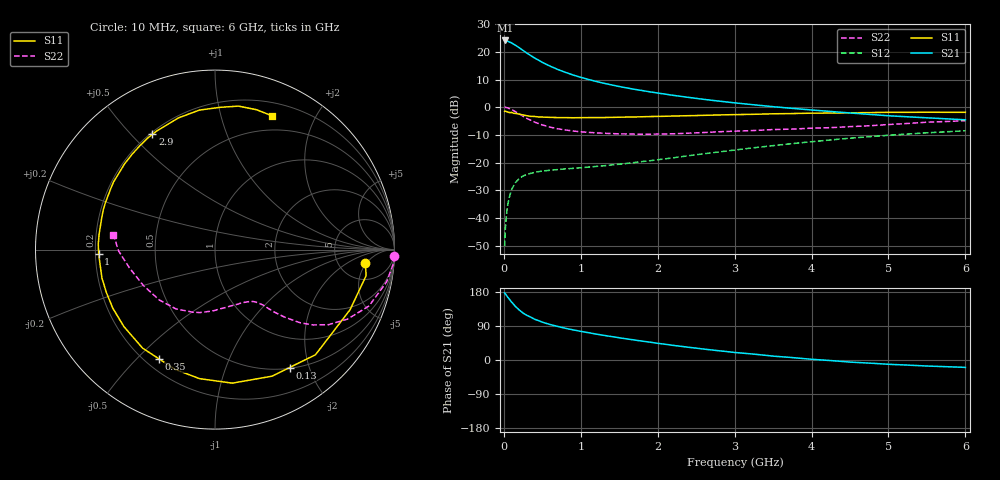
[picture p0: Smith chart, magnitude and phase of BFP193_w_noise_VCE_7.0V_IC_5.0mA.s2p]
! (c) 2017  Infineon Technologies AG, Munich
! Infineon Technologies  Discrete & RF Semiconductors
! BFP193
! VCE =  7.0 V,  IC =  5.0 mA
! Common Emitter S-Parameters:  Jan 2017
# GHz  S  MA  R  50
!  f  S11  S21  S12  S22
! GHz  MAG  ANG  MAG  ANG  MAG  ANG  MAG  ANG
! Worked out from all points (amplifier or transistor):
!   77 points, 10 MHz to 6 GHz, reference 50 ohm
!   highest |S21| = 24.1 dB at 20 MHz (marker M1)
!   |S21| within 3 dB of that: start of sweep to 218.8 MHz
!   unconditionally stable (mu >= 1): 1.409 GHz to 2.642 GHz
!   at 130 MHz: K = 0.13, MSG = 25.5 dB, |S12| = -28.2 dB
!   at 2.2 GHz: K = 1.06, MAG = 9.8 dB, |S12| = -18.3 dB
!   at 6 GHz: K = 0.85, MSG = 2.0 dB, |S12| = -8.5 dB
!   lowest NFmin = 0.92 dB at 450 MHz
!   S11 on the Smith chart (normalised r, x): 10 MHz: 9, -5; 130 MHz: 0.51, -1.70; 350 MHz: 0.25, -0.58; 1 GHz: 0.21, -0.02; 2.9 GHz: 0.21, +0.58; 6 GHz: 0.34, +1.46
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0.01  0.8412 -5.0  15.9 177.2  0.0031 89.0  1 -2.1
0.02  0.8544 -9.8  16.06 174.5  0.0064 89.9  0.9978 -4.4
0.05  0.8238 -24.0  15.58 165.9  0.0171 77.1  0.9733 -10.6
0.1  0.8103 -46.3  14.58 153.0  0.0322 68.1  0.9137 -20.1
0.13  0.7774 -57.7  13.68 146.3  0.0389 61.2  0.8637 -24.5
0.15  0.7736 -65.7  13.2 141.4  0.0436 57.8  0.8335 -27.7
0.2  0.7503 -82.6  11.86 132.0  0.0515 51.6  0.758 -33.5
0.25  0.7241 -96.8  10.6 123.8  0.0574 45.6  0.6878 -37.6
0.3  0.7035 -108.4  9.47 117.6  0.0613 41.3  0.6272 -40.6
0.35  0.684 -117.2  8.573 113.1  0.064 39.3  0.5826 -42.3
0.4  0.6813 -126.3  7.742 107.5  0.0668 37.4  0.5386 -44.2
0.5  0.6646 -139.8  6.459 99.9  0.0705 34.1  0.4793 -46.5
0.6  0.6563 -150.3  5.537 93.7  0.0728 32.5  0.4376 -48.0
1  0.6486 -177.7  3.471 75.6  0.0807 34.4  0.36 -53.5
1.1  0.651 177.2  3.174 72.0  0.083 35.2  0.3518 -55.3
1.5  0.6606 160.4  2.368 58.7  0.0935 40.2  0.3307 -64.4
2.1  0.6871 139.7  1.721 41.5  0.1173 45.8  0.3291 -82.1
2.9  0.7305 118.5  1.244 22.2  0.1623 47.0  0.365 -106.6
3.1  0.7392 114.0  1.162 18.2  0.1754 46.3  0.3732 -112.4
4.1  0.7829 94.7  0.87 0.6  0.2457 39.3  0.4218 -141.3
5.1  0.8096 79.2  0.689 -12.2  0.3183 28.1  0.4955 -170.3
6  0.8103 67.0  0.593 -19.5  0.376 16.8  0.5722 171.6
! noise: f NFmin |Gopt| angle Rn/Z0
0.45  0.92  0.28  104  0.1
0.9  1.03  0.39  150  0.07
1.9  1.97  0.61  -151  0.13
2.4  2.42  0.67  -131  0.35
